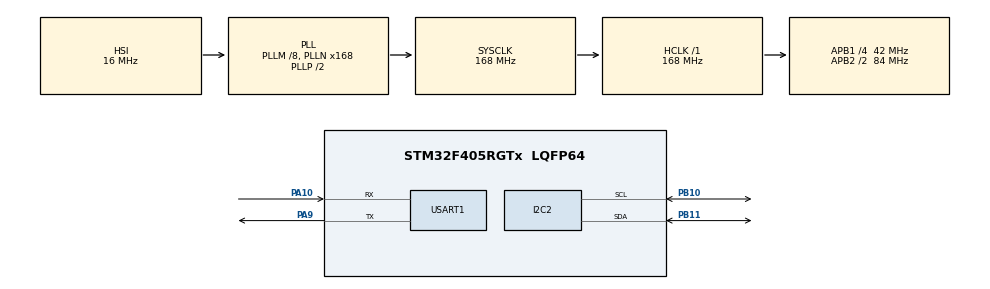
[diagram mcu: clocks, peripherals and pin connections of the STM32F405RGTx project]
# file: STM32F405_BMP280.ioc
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Mcu.Family=STM32F4
Mcu.Name=STM32F405RGTx
Mcu.Package=LQFP64
NVIC.PriorityGroup=NVIC_PRIORITYGROUP_4
PA10.Mode=Asynchronous
PA10.Signal=USART1_RX
PA9.Mode=Asynchronous
PA9.Signal=USART1_TX
PB10.Mode=I2C
PB10.Signal=I2C2_SCL
PB11.Mode=I2C
PB11.Signal=I2C2_SDA
PH0-OSC_IN.Mode=HSE-External-Oscillator
PH0-OSC_IN.Signal=RCC_OSC_IN
PH1-OSC_OUT.Mode=HSE-External-Oscillator
PH1-OSC_OUT.Signal=RCC_OSC_OUT
ProjectManager.HeapSize=0x200
ProjectManager.StackSize=0x400
ProjectManager.TargetToolchain=STM32CubeIDE
RCC.48MHZClocksFreq_Value=84000000
RCC.AHBFreq_Value=168000000
RCC.APB1CLKDivider=RCC_HCLK_DIV4
RCC.APB1Freq_Value=42000000
RCC.APB1TimFreq_Value=84000000
RCC.APB2CLKDivider=RCC_HCLK_DIV2
RCC.APB2Freq_Value=84000000
RCC.APB2TimFreq_Value=168000000
RCC.CortexFreq_Value=168000000
RCC.HCLKFreq_Value=168000000
RCC.HSE_VALUE=8000000
RCC.HSI_VALUE=16000000
RCC.LSE_VALUE=32768
RCC.PLLM=8
RCC.PLLN=168
RCC.SYSCLKFreq_VALUE=168000000
RCC.SYSCLKSource=RCC_SYSCLKSOURCE_PLLCLK
RCC.VCOOutputFreq_Value=336000000
USART1.VirtualMode=VM_ASYNC
board=custom

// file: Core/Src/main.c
/* USER CODE BEGIN Header */
/**
  ******************************************************************************
  * @file           : main.c
  * @brief          : Main program body
  ******************************************************************************
  * @attention
  *
  * Copyright (c) 2025 STMicroelectronics.
  * All rights reserved.
  *
  * This software is licensed under terms that can be found in the LICENSE file
  * in the root directory of this software component.
  * If no LICENSE file comes with this software, it is provided AS-IS.
  *
  ******************************************************************************
  */
/* USER CODE END Header */
#include "main.h"
#include "i2c.h"
#include "usart.h"
#include "gpio.h"

/* USER CODE BEGIN Includes */
#include "stdio.h"
#include "string.h"
#include "err_code.h"
#include "bmp280.h"
/* USER CODE END Includes */

/* USER CODE BEGIN PD */
#define CONFIG_BMP280_OPR_MODE              BMP280_OPR_MODE_NORMAL
#define CONFIG_BMP280_FILTER                BMP280_FILTER_OFF
#define CONFIG_BMP280_OVER_SAMPLING_TEMP    BMP280_OVER_SAMPLING_STANDARD
#define CONFIG_BMP280_OVER_SAMPLING_HUMD    BMP280_OVER_SAMPLING_STANDARD
#define CONFIG_BMP280_OVER_SAMPLING_PRES    BMP280_OVER_SAMPLING_STANDARD
#define CONFIG_BMP280_STANDBY_TIME          BMP280_STANDBY_TIME_0_5MS
#define CONFIG_BMP280_COMM_MODE             BMP280_COMM_MODE_I2C

#define BMP280_I2C                          hi2c2
#define I2C_ADDR_BMP280                     (BMP280_I2C_ADDR_0<<1)

#define UART_DEBUG                          huart1
/* USER CODE END PD */

/* USER CODE BEGIN PV */
bmp280_handle_t bmp280_handle = NULL;
uint8_t log_buf[100];
/* USER CODE END PV */

void SystemClock_Config(void);
/* USER CODE BEGIN PFP */
err_code_t hw_intf_bmp280_i2c_send(uint8_t reg_addr, uint8_t *buf, uint16_t len);
err_code_t hw_intf_bmp280_i2c_recv(uint8_t reg_addr, uint8_t *buf, uint16_t len);
err_code_t hw_intf_uart_debug_send(uint8_t *log_buf);
/* USER CODE END PFP */

int main(void)
{

    /* MCU Configuration--------------------------------------------------------*/

    /* Reset of all peripherals, Initializes the Flash interface and the Systick. */
    HAL_Init();

    /* Configure the system clock */
    SystemClock_Config();

    /* Initialize all configured peripherals */
    MX_GPIO_Init();
    MX_I2C2_Init();
    MX_USART1_UART_Init();
    /* USER CODE BEGIN 2 */
    bmp280_cfg_t bmp280_cfg = {
        .opr_mode                   = CONFIG_BMP280_OPR_MODE,
        .filter                     = CONFIG_BMP280_FILTER,
        .over_sampling_pressure     = CONFIG_BMP280_OVER_SAMPLING_PRES,
        .over_sampling_temperature  = CONFIG_BMP280_OVER_SAMPLING_TEMP,
        .over_sampling_humidity     = CONFIG_BMP280_OVER_SAMPLING_HUMD,
        .standby_time               = CONFIG_BMP280_STANDBY_TIME,
        .comm_mode                  = CONFIG_BMP280_COMM_MODE,
        .i2c_send                   = hw_intf_bmp280_i2c_send,
        .i2c_recv                   = hw_intf_bmp280_i2c_recv,
        .delay                      = HAL_Delay,
    };
    bmp280_handle = bmp280_init();
    bmp280_set_config(bmp280_handle, bmp280_cfg);
    bmp280_config(bmp280_handle);
    /* USER CODE END 2 */

    /* Infinite loop */
    /* USER CODE BEGIN WHILE */
    while (1)
    {
        float pressure = 0.0;
        float altitude = 0.0;

        bmp280_get_pressure(bmp280_handle, &pressure);
        bmp280_convert_pressure_to_altitude(bmp280_handle, pressure, &altitude);

        sprintf((char *)log_buf, "%f,%f\n", pressure, altitude);
        hw_intf_uart_debug_send(log_buf);

        HAL_Delay(25);
        /* USER CODE END WHILE */

    }
}

void SystemClock_Config(void)
{
    RCC_OscInitTypeDef RCC_OscInitStruct = {0};
    RCC_ClkInitTypeDef RCC_ClkInitStruct = {0};

    /** Configure the main internal regulator output voltage
    */
    __HAL_RCC_PWR_CLK_ENABLE();
    __HAL_PWR_VOLTAGESCALING_CONFIG(PWR_REGULATOR_VOLTAGE_SCALE1);

    /** Initializes the RCC Oscillators according to the specified parameters
    * in the RCC_OscInitTypeDef structure.
    */
    RCC_OscInitStruct.OscillatorType = RCC_OSCILLATORTYPE_HSI;
    RCC_OscInitStruct.HSIState = RCC_HSI_ON;
    RCC_OscInitStruct.HSICalibrationValue = RCC_HSICALIBRATION_DEFAULT;
    RCC_OscInitStruct.PLL.PLLState = RCC_PLL_ON;
    RCC_OscInitStruct.PLL.PLLSource = RCC_PLLSOURCE_HSI;
    RCC_OscInitStruct.PLL.PLLM = 8;
    RCC_OscInitStruct.PLL.PLLN = 168;
    RCC_OscInitStruct.PLL.PLLP = RCC_PLLP_DIV2;
    RCC_OscInitStruct.PLL.PLLQ = 4;
    if (HAL_RCC_OscConfig(&RCC_OscInitStruct) != HAL_OK)
    {
        Error_Handler();
    }

    /** Initializes the CPU, AHB and APB buses clocks
    */
    RCC_ClkInitStruct.ClockType = RCC_CLOCKTYPE_HCLK | RCC_CLOCKTYPE_SYSCLK
                                  | RCC_CLOCKTYPE_PCLK1 | RCC_CLOCKTYPE_PCLK2;
    RCC_ClkInitStruct.SYSCLKSource = RCC_SYSCLKSOURCE_PLLCLK;
    RCC_ClkInitStruct.AHBCLKDivider = RCC_SYSCLK_DIV1;
    RCC_ClkInitStruct.APB1CLKDivider = RCC_HCLK_DIV4;
    RCC_ClkInitStruct.APB2CLKDivider = RCC_HCLK_DIV2;

    if (HAL_RCC_ClockConfig(&RCC_ClkInitStruct, FLASH_LATENCY_5) != HAL_OK)
    {
        Error_Handler();
    }
}

/* USER CODE BEGIN 4 */
err_code_t hw_intf_bmp280_i2c_send(uint8_t reg_addr, uint8_t *buf, uint16_t len)
{
    uint8_t buf_send[len + 1];
    buf_send[0] = reg_addr;
    for (uint8_t i = 0; i < len; i++)
    {
        buf_send[i + 1] = buf[i];
    }

    HAL_I2C_Master_Transmit(&BMP280_I2C, I2C_ADDR_BMP280, buf_send, len + 1, 100);

    return ERR_CODE_SUCCESS;
}

err_code_t hw_intf_bmp280_i2c_recv(uint8_t reg_addr, uint8_t *buf, uint16_t len)
{
    uint8_t buffer[1];
    buffer[0] = reg_addr;

    HAL_I2C_Master_Transmit(&BMP280_I2C, I2C_ADDR_BMP280, buffer, 1, 100);
    HAL_I2C_Master_Receive(&BMP280_I2C, I2C_ADDR_BMP280, buf, len, 100);

    return ERR_CODE_SUCCESS;
}

err_code_t hw_intf_uart_debug_send(uint8_t *log_buf)
{
    uint16_t len = strlen((char*)log_buf);
    HAL_UART_Transmit(&UART_DEBUG, (uint8_t*)log_buf, len, 100);

    return ERR_CODE_SUCCESS;
}
/* USER CODE END 4 */

void Error_Handler(void)
{
    __disable_irq();
    while (1)
    {
    }
}
